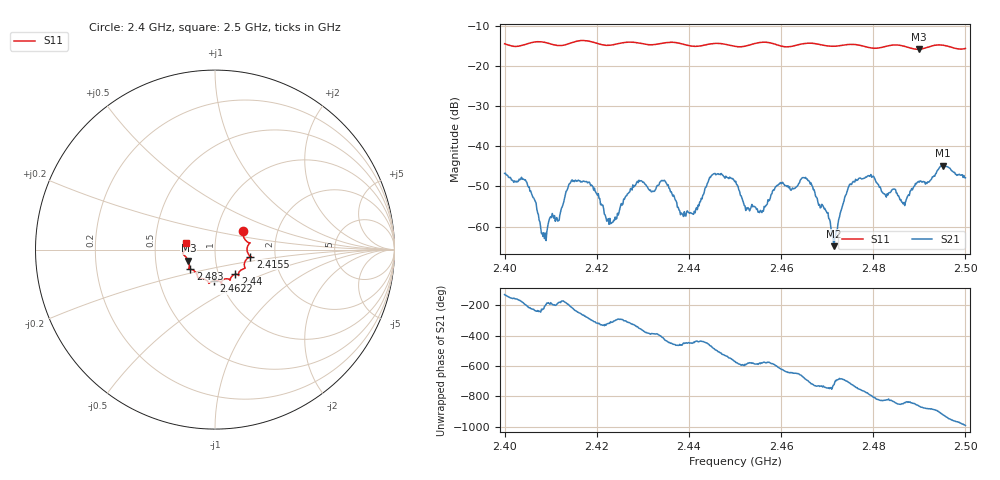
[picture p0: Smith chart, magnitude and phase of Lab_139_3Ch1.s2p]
# Hz S RI R 50
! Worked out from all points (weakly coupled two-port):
!   601 points, 2.4 GHz to 2.5 GHz, reference 50 ohm
!   highest |S21| = -44.85 dB at 2.4952 GHz (marker M1); lowest = -64.9 dB at 2.4715 GHz (marker M2)
!   lowest |S11| = -15.9 dB at 2.4898 GHz (marker M3), VSWR 1.38, Z = 36.8 - j4.62 ohm
!   |S11| at or under -10 dB: start of sweep to end of sweep
!   S12 and S22 are empty: the file has one direction only
!   S11 on the Smith chart (normalised r, x): 2.4 GHz: 1.33, +0.29; 2.4155 GHz: 1.49, -0.12; 2.44 GHz: 1.20, -0.34; 2.4622 GHz: 0.93, -0.33; 2.483 GHz: 0.74, -0.17; 2.5 GHz: 0.72, +0.06
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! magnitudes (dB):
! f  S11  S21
! 2.4 GHz  -14.5  -46.8
! 2.4048 GHz  -14.5  -49.0
! 2.4085 GHz  -14.1  -61.5
! 2.4155 GHz  -13.9  -48.6
! 2.4167 GHz  -13.7  -48.8
! 2.4232 GHz  -14.8  -59.0
! 2.429 GHz  -14.3  -49.1
! 2.4333 GHz  -14.6  -49.7
! 2.44 GHz  -15.0  -56.5
! 2.4452 GHz  -14.5  -47.0
! 2.45 GHz  -15.1  -48.8
! 2.4555 GHz  -14.2  -56.0
! 2.4622 GHz  -15.2  -51.0
! 2.4667 GHz  -14.4  -49.7
! 2.4715 GHz  -15.1  -64.9
! 2.4753 GHz  -14.7  -49.4
! 2.483 GHz  -15.1  -51.9
! 2.4833 GHz  -15.0  -51.6
! 2.4867 GHz  -15.1  -54.0
! 2.4898 GHz  -15.9  -48.7
! 2.4952 GHz  -14.9  -44.8
! 2.5 GHz  -15.7  -47.9
